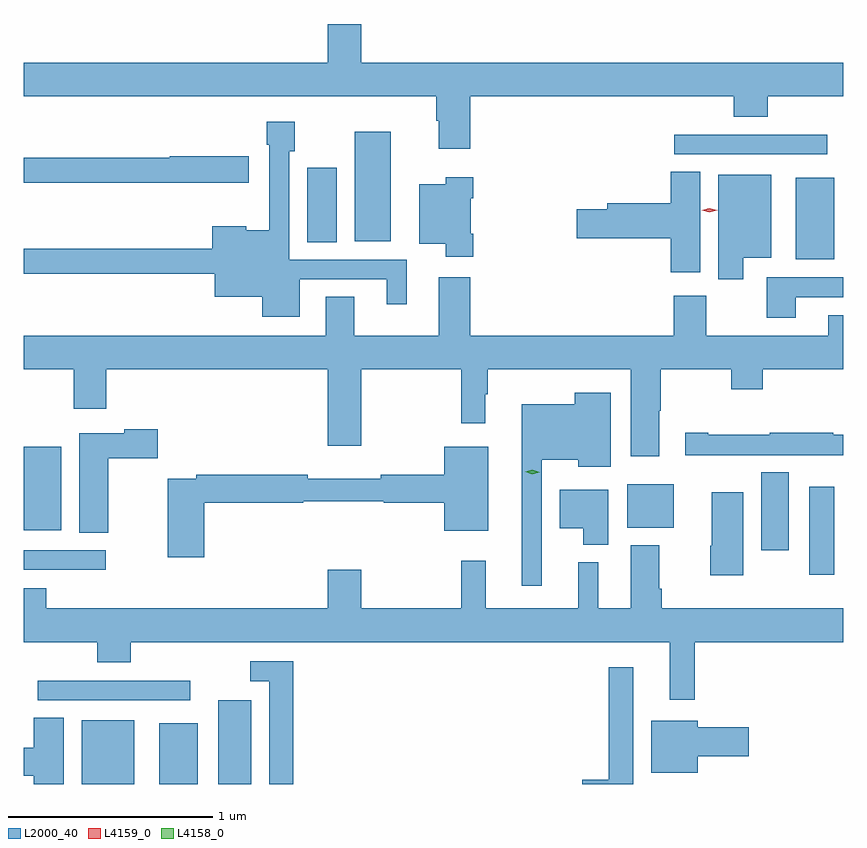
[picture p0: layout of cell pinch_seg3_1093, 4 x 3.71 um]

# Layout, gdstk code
import gdstk
lib = gdstk.Library(unit=1e-6, precision=1e-09)
def R(c, l, rs):  # rectangles x0, y0, x1, y1
    for r in rs: c.add(gdstk.rectangle(r[:2], r[2:], *l))
def P(c, l, *ps):  # polygons
    for p in ps: c.add(gdstk.Polygon(p, *l))
L2000_40 = (2000, 40)
L4158_0 = (4158, 0)
L4159_0 = (4159, 0)

pinch_seg3_1093 = lib.new_cell('pinch_seg3_1093')
R(pinch_seg3_1093, L2000_40, [(343.628,741.515,343.885,741.826), (344.006,741.515,344.194,741.811), (344.294,741.515,344.455,741.925), (343.413,741.924,344.158,742.02), (347.18,742.536,347.302,742.966), (343.345,742.56,343.744,742.656), (346.946,742.656,347.08,743.036), (343.345,742.754,343.528,743.161), (346.292,742.766,346.519,742.978), (347.114,744.077,347.302,744.475), (344.729,744.16,344.872,744.523), (344.96,744.164,345.136,744.7), (346.521,744.588,347.266,744.684)])
P(pinch_seg3_1093, L2000_40, [(345.524,744.872),(346.811,744.872),(346.811,744.773),(346.976,744.773),(346.976,744.872),(347.345,744.872),(347.345,745.036),(344.992,745.036),(344.992,745.225),(344.828,745.225),(344.828,745.036),(343.345,745.036),(343.345,744.872),(345.359,744.872),(345.359,744.752),(345.371,744.752),(345.371,744.615),(345.524,744.615)],
  [(344.692,743.979),(345.116,743.979),(345.116,743.856),(345.214,743.856),(345.214,744.075),(344.64,744.075),(344.64,744.603),(344.667,744.603),(344.667,744.748),(344.532,744.748),(344.532,744.635),(344.544,744.635),(344.544,744.217),(344.43,744.217),(344.43,744.238),(344.264,744.238),(344.264,744.127),(343.345,744.127),(343.345,744.006),(344.276,744.006),(344.276,743.894),(344.51,743.894),(344.51,743.795),(344.692,743.795)],
  [(344.443,744.579),(344.058,744.579),(344.058,744.571),(343.345,744.571),(343.345,744.45),(344.158,744.45),(344.158,744.449),(344.443,744.449)],
  [(346.648,744.503),(346.502,744.503),(346.502,744.35),(346.193,744.35),(346.193,744.32),(346.044,744.32),(346.044,744.178),(346.502,744.178),(346.502,744.012),(346.648,744.012)],
  [(346.858,744.083),(346.993,744.083),(346.993,744.49),(346.736,744.49),(346.736,743.979),(346.858,743.979)],
  [(345.539,744.202),(345.526,744.202),(345.526,744.374),(345.539,744.374),(345.539,744.478),(345.404,744.478),(345.404,744.442),(345.275,744.442),(345.275,744.152),(345.404,744.152),(345.404,744.09),(345.539,744.09)],
  [(346.447,743.336),(346.455,743.336),(346.455,743.54),(346.798,743.54),(346.798,743.441),(346.953,743.441),(346.953,743.54),(347.345,743.54),(347.345,743.803),(347.273,743.803),(347.273,743.704),(346.677,743.704),(346.677,743.899),(346.517,743.899),(346.517,743.704),(345.524,743.704),(345.524,743.989),(345.371,743.989),(345.371,743.704),(344.959,743.704),(344.959,743.894),(344.819,743.894),(344.819,743.704),(343.345,743.704),(343.345,743.54),(343.588,743.54),(343.588,743.346),(343.748,743.346),(343.748,743.54),(344.828,743.54),(344.828,743.166),(344.992,743.166),(344.992,743.54),(345.481,743.54),(345.481,743.277),(345.598,743.277),(345.598,743.417),(345.61,743.417),(345.61,743.54),(346.307,743.54),(346.307,743.115),(346.447,743.115)],
  [(347.113,743.892),(347.345,743.892),(347.345,743.988),(346.973,743.988),(346.973,743.79),(347.113,743.79)],
  [(345.873,743.099),(346.052,743.099),(346.052,743.063),(346.21,743.063),(346.21,743.425),(346.035,743.425),(346.035,743.368),(345.776,743.368),(345.776,742.482),(345.873,742.482)],
  [(343.758,743.105),(343.999,743.105),(343.999,743.247),(343.836,743.247),(343.836,743.227),(343.616,743.227),(343.616,742.741),(343.758,742.741)],
  [(346.85,743.121),(347.184,743.121),(347.184,743.12),(347.345,743.12),(347.345,743.22),(347.297,743.22),(347.297,743.23),(346.987,743.23),(346.987,743.22),(346.687,743.22),(346.687,743.23),(346.575,743.23),(346.575,743.12),(346.85,743.12)],
  [(344.225,742.888),(344.708,742.888),(344.708,742.896),(345.102,742.896),(345.102,742.888),(345.398,742.888),(345.398,742.751),(345.613,742.751),(345.613,743.161),(345.398,743.161),(345.398,743.024),(345.088,743.024),(345.088,743.005),(344.732,743.005),(344.732,743.024),(344.188,743.024),(344.188,743.004),(344.047,743.004),(344.047,742.623),(344.225,742.623)],
  [(346.198,742.951),(345.962,742.951),(345.962,742.763),(346.076,742.763),(346.076,742.682),(346.198,742.682)],
  [(346.858,742.939),(346.703,742.939),(346.703,742.677),(346.697,742.677),(346.697,742.533),(346.858,742.533)],
  [(346.621,742.208),(347.345,742.208),(347.345,742.372),(346.46,742.372),(346.46,742.468),(346.447,742.468),(346.447,742.681),(346.307,742.681),(346.307,742.372),(346.15,742.372),(346.15,742.597),(346.052,742.597),(346.052,742.372),(345.599,742.372),(345.599,742.606),(345.481,742.606),(345.481,742.372),(344.992,742.372),(344.992,742.561),(344.828,742.561),(344.828,742.372),(343.454,742.372),(343.454,742.471),(343.345,742.471),(343.345,742.208),(343.703,742.208),(343.703,742.109),(343.868,742.109),(343.868,742.208),(346.499,742.208),(346.499,741.927),(346.621,741.927)],
  [(344.66,742.113),(344.451,742.113),(344.451,742.016),(344.544,742.016),(344.544,741.515),(344.66,741.515)],
  [(346.321,742.084),(346.2,742.084),(346.2,741.535),(346.07,741.535),(346.07,741.515),(346.321,741.515)],
  [(343.54,741.839),(343.394,741.839),(343.394,741.692),(343.345,741.692),(343.345,741.556),(343.394,741.556),(343.394,741.515),(343.54,741.515)],
  [(346.636,741.65),(346.885,741.65),(346.885,741.792),(346.636,741.792),(346.636,741.823),(346.409,741.823),(346.409,741.569),(346.636,741.569)])
P(pinch_seg3_1093, L4158_0, [(345.827,743.028),(345.792,743.039),(345.791,743.039),(345.792,743.04),(345.828,743.048),(345.863,743.036),(345.863,743.036),(345.863,743.036)])
P(pinch_seg3_1093, L4159_0, [(346.692,744.306),(346.654,744.316),(346.654,744.316),(346.654,744.316),(346.692,744.326),(346.729,744.316),(346.729,744.316),(346.729,744.315)])

lib.write_gds('pinch_seg3_1093.gds')
